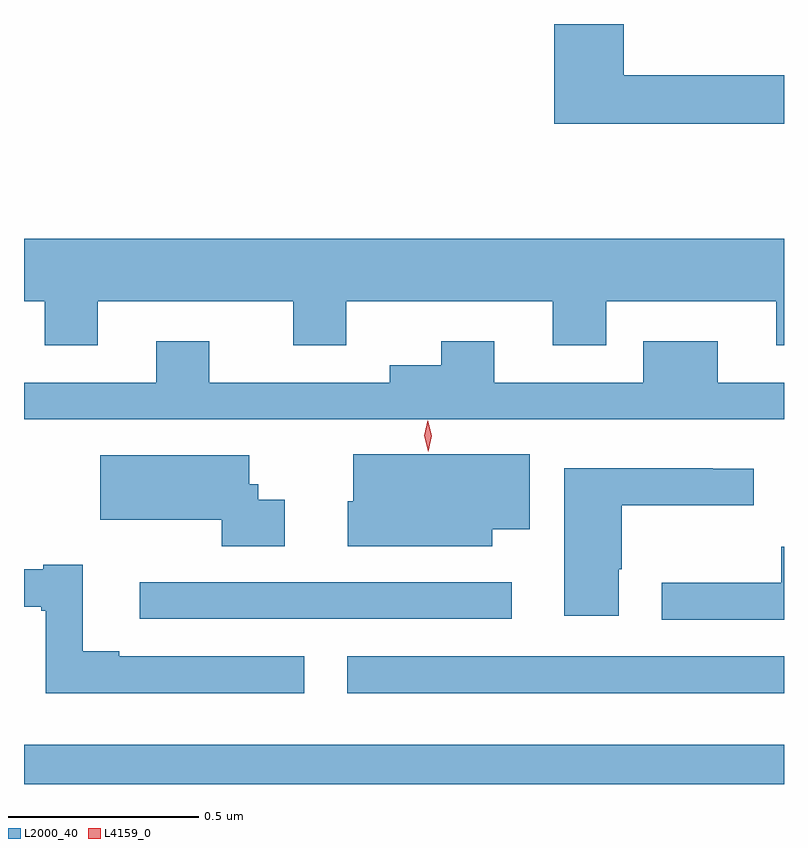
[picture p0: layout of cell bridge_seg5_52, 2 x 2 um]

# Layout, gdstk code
import gdstk
lib = gdstk.Library(unit=1e-6, precision=1e-09)
def R(c, l, rs):  # rectangles x0, y0, x1, y1
    for r in rs: c.add(gdstk.rectangle(r[:2], r[2:], *l))
def P(c, l, *ps):  # polygons
    for p in ps: c.add(gdstk.Polygon(p, *l))
L2000_40 = (2000, 40)
L4159_0 = (4159, 0)

bridge_seg5_52 = lib.new_cell('bridge_seg5_52')
R(bridge_seg5_52, L2000_40, [(844.367,844.833,846.367,844.936), (845.217,845.072,846.367,845.169), (844.671,845.268,845.65,845.364)])
P(bridge_seg5_52, L2000_40, [(846.367,846.698),(845.945,846.698),(845.945,846.833),(845.762,846.833),(845.762,846.57),(846.367,846.57)],
  [(844.561,846.104),(845.075,846.104),(845.075,845.987),(845.215,845.987),(845.215,846.104),(845.759,846.104),(845.759,845.987),(845.899,845.987),(845.899,846.104),(846.347,846.104),(846.347,845.987),(846.367,845.987),(846.367,846.268),(844.367,846.268),(844.367,846.104),(844.421,846.104),(844.421,845.987),(844.561,845.987)],
  [(846.367,845.889),(846.193,845.889),(846.193,845.998),(845.996,845.998),(845.996,845.889),(845.605,845.889),(845.605,845.998),(845.465,845.998),(845.465,845.935),(845.33,845.935),(845.33,845.889),(844.855,845.889),(844.855,845.998),(844.715,845.998),(844.715,845.889),(844.367,845.889),(844.367,845.793),(846.367,845.793)],
  [(845.599,845.504),(845.698,845.504),(845.698,845.701),(845.234,845.701),(845.234,845.577),(845.219,845.577),(845.219,845.459),(845.599,845.459)],
  [(845.053,845.581),(844.983,845.581),(844.983,845.622),(844.96,845.622),(844.96,845.698),(844.568,845.698),(844.568,845.528),(844.887,845.528),(844.887,845.459),(845.053,845.459)],
  [(845.932,845.398),(845.94,845.398),(845.94,845.567),(846.287,845.567),(846.287,845.663),(846.179,845.663),(846.179,845.664),(845.789,845.664),(845.789,845.276),(845.932,845.276)],
  [(846.367,845.458),(846.36,845.458),(846.36,845.363),(846.045,845.363),(846.045,845.265),(846.367,845.265)],
  [(845.104,845.169),(844.618,845.169),(844.618,845.182),(844.522,845.182),(844.522,845.41),(844.418,845.41),(844.418,845.398),(844.367,845.398),(844.367,845.3),(844.413,845.3),(844.413,845.289),(844.424,845.289),(844.424,845.072),(845.104,845.072)])
P(bridge_seg5_52, L4159_0, [(845.431,845.708),(845.431,845.708),(845.42,845.749),(845.43,845.79),(845.43,845.79),(845.43,845.79),(845.44,845.749),(845.431,845.708)])

lib.write_gds('bridge_seg5_52.gds')
